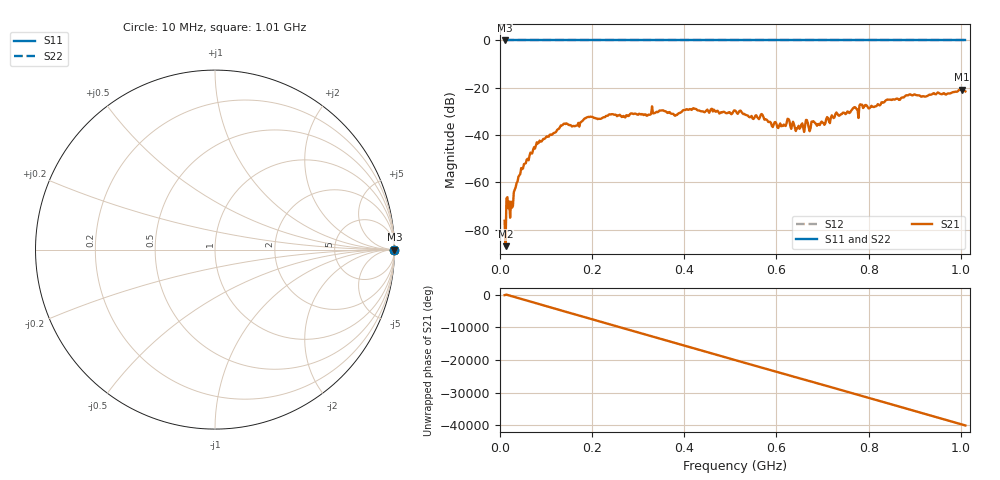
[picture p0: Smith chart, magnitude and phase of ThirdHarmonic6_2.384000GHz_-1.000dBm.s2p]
! 8/17/2025 3:49:18 AM
! C:\ANRITSUVNA\TEMP\TEMP.S2P
! CHANNEL.1
! TR.MEASUREMENT
! RAW.DATA
! RF.CORRECTION.OFF
! AVERAGING.OFF
! IF.BANDWIDTH: 5KHZ
! SWEEPTYPE:  FREQ.SWEEP(Linear)
! Reference Plane Port Info
! PORT:  PORT1  PORT2
! DISTANCE:  0  m  0  m
! TIME:  0  s  0  s
! PHASE.OFFSET:  0  deg.  0  deg.
! LOSS:  0  dB  0  dB
! REF.LOSS:  0  dB  0  dB
! REF.FREQ:  0  Hz  0  Hz
! Power Info
! POWER:  -20  dBm  -20  dBm
! EFF.POWER:  -20  dBm  -20  dBm
! SOURCE.ATTEN:  0  dB  0  dB
! TEST.ATTEN:  0  dB  0  dB
# GHZ S RI R 50.0
! FREQ.GHZ  S11RE  S11IM  S21RE  S21IM  S12RE  S12IM  S22RE  S22IM
!; PortSelection: Port_12
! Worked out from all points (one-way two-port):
!   501 points, 10 MHz to 1.01 GHz, reference 50 ohm
!   highest |S21| = -20.78 dB at 1.002 GHz (marker M1); lowest = -86.9 dB at 12 MHz (marker M2)
!   lowest |S11| = 0.0 dB at 10 MHz (marker M3)
!   |S11| at or under -10 dB: nowhere
!   |S22| runs from 0.0 to 0.0 dB; largest |S21 - S12| = 1.1
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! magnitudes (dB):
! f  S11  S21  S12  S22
! 10 MHz  0.0  -76.2  0.0  0.0
! 12 MHz  0.0  -86.9  0.0  0.0
! 18 MHz  0.0  -70.9  0.0  0.0
! 26 MHz  0.0  -70.7  0.0  0.0
! 34 MHz  0.0  -62.0  0.0  0.0
! 44 MHz  0.0  -56.4  0.0  0.0
! 82 MHz  0.0  -43.6  0.0  0.0
! 136 MHz  0.0  -35.7  0.0  0.0
! 164 MHz  0.0  -36.1  0.0  0.0
! 178 MHz  0.0  -34.1  0.0  0.0
! 344 MHz  0.0  -30.1  0.0  0.0
! 382 MHz  0.0  -31.5  0.0  0.0
! 422 MHz  0.0  -28.8  0.0  0.0
! 510 MHz  0.0  -29.6  0.0  0.0
! 568 MHz  0.0  -31.1  0.0  0.0
! 606 MHz  0.0  -36.0  0.0  0.0
! 626 MHz  0.0  -33.2  0.0  0.0
! 646 MHz  0.0  -37.0  0.0  0.0
! 678 MHz  0.0  -34.3  0.0  0.0
! 844 MHz  0.0  -25.0  0.0  0.0
! 1.002 GHz  0.0  -20.8  0.0  0.0
! 1.01 GHz  0.0  -21.5  0.0  0.0
